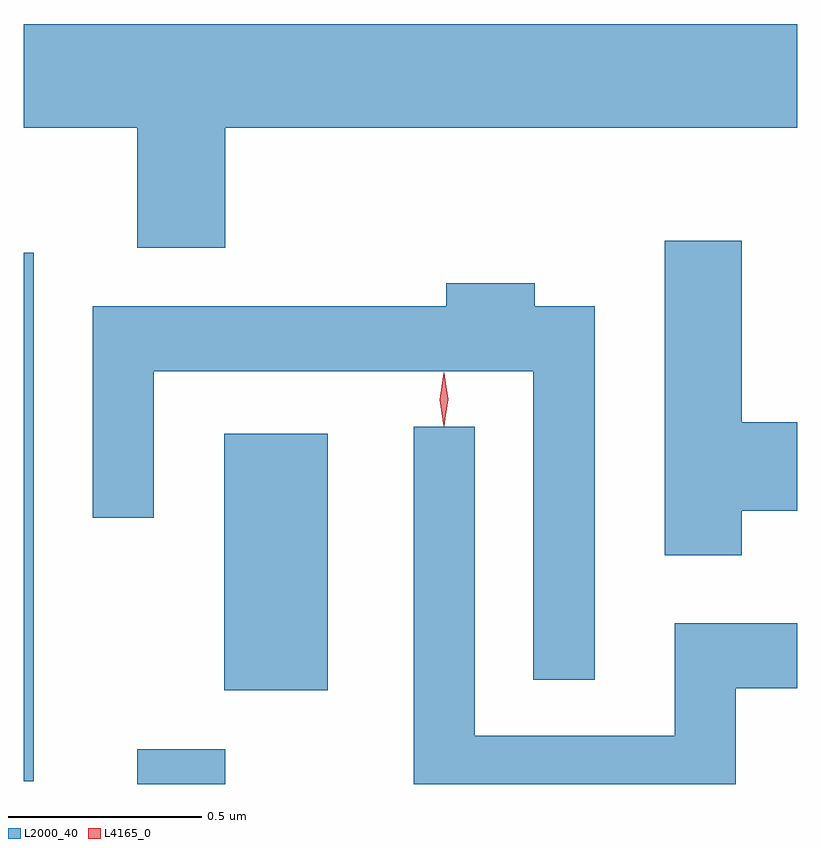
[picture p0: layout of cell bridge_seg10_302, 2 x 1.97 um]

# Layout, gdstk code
import gdstk
lib = gdstk.Library(unit=1e-6, precision=1e-09)
def R(c, l, rs):  # rectangles x0, y0, x1, y1
    for r in rs: c.add(gdstk.rectangle(r[:2], r[2:], *l))
def P(c, l, *ps):  # polygons
    for p in ps: c.add(gdstk.Polygon(p, *l))
L2000_40 = (2000, 40)
L4165_0 = (4165, 0)

bridge_seg10_302 = lib.new_cell('bridge_seg10_302')
R(bridge_seg10_302, L2000_40, [(1443.441,2172.159,1443.669,2172.249), (1443.148,2172.166,1443.174,2173.533), (1443.666,2172.401,1443.934,2173.064)])
P(bridge_seg10_302, L2000_40, [(1443.669,2173.856),(1445.148,2173.856),(1445.148,2174.124),(1443.148,2174.124),(1443.148,2173.856),(1443.441,2173.856),(1443.441,2173.546),(1443.669,2173.546)],
  [(1445.004,2172.866),(1445.148,2172.866),(1445.148,2173.094),(1445.004,2173.094),(1445.004,2173.564),(1444.806,2173.564),(1444.806,2172.751),(1445.004,2172.751)],
  [(1444.624,2173.394),(1444.469,2173.394),(1444.469,2173.454),(1444.241,2173.454),(1444.241,2173.394),(1443.326,2173.394),(1443.326,2172.848),(1443.484,2172.848),(1443.484,2173.226),(1444.466,2173.226),(1444.466,2172.428),(1444.624,2172.428)],
  [(1444.989,2172.406),(1445.148,2172.406),(1445.148,2172.574),(1444.831,2172.574),(1444.831,2172.284),(1444.314,2172.284),(1444.314,2173.083),(1444.156,2173.083),(1444.156,2172.159),(1444.989,2172.159)])
P(bridge_seg10_302, L4165_0, [(1444.234,2173.084),(1444.234,2173.084),(1444.224,2173.153),(1444.234,2173.222),(1444.234,2173.223),(1444.235,2173.222),(1444.244,2173.153),(1444.235,2173.084)],
  [(1444.235,2173.087),(1444.234,2173.088),(1444.225,2173.154),(1444.234,2173.22),(1444.235,2173.22),(1444.235,2173.22),(1444.245,2173.154),(1444.235,2173.088)])

lib.write_gds('bridge_seg10_302.gds')
